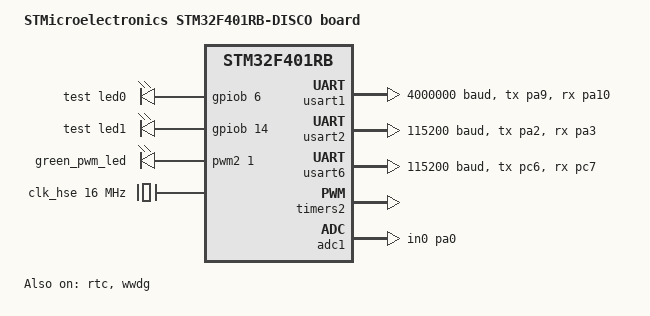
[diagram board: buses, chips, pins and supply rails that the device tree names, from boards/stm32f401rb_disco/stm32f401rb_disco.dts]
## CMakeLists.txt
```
# SPDX-License-Identifier: Apache-2.0

cmake_minimum_required(VERSION 3.20.0)
find_package(Zephyr REQUIRED HINTS $ENV{ZEPHYR_BASE})
project(cerebrum)

target_sources(app PRIVATE src/main.c)
```

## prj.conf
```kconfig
CONFIG_GPIO=y
CONFIG_SERIAL=y
CONFIG_UART_ASYNC_API=y
```

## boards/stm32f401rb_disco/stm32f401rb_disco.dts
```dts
/*
 * Copyright (c) 2017 Linaro Limited
 * Copyright (c) 2019 Centaur Analytics, Inc
 *
 * SPDX-License-Identifier: Apache-2.0
 */

/dts-v1/;
#include <st/f4/stm32f401Xb.dtsi>
#include <st/f4/stm32f401r(b-c)tx-pinctrl.dtsi>

/ {
	model = "STMicroelectronics STM32F401RB-DISCO board";
	compatible = "st,stm32f401rb-disco";

	chosen {
		zephyr,console = &usart2;
		zephyr,shell-uart = &usart2;
		zephyr,sram = &sram0;
		zephyr,flash = &flash0;
		zephyr,code-partition = &slot0_partition;
		/* other chosen settings  for your hardware */
	};

	/*
    * Your board-specific hardware: buttons, LEDs, sensors, etc.
    */

	leds {
		compatible = "gpio-leds";
		led0: led_0 {
			gpios = <&gpiob 6 GPIO_ACTIVE_HIGH>;
			label = "test led0";
		};
		led1: led_1 {
			gpios = <&gpiob 14 GPIO_ACTIVE_HIGH>;
			label = "test led1";
		};
	};

	pwmleds {
		compatible = "pwm-leds";
		green_pwm_led: green_pwm_led {
			pwms = <&pwm2 1 0 PWM_POLARITY_NORMAL>;
		};
	};

	gpio_keys {
		compatible = "gpio-keys";
	};

	/* These aliases are provided for compatibility with samples */
	aliases {
		led0 = &led0;
		led1 = &led1;
		pwm-led0 = &green_pwm_led;
	};
};

/* Clock Setup (cross-ref with stm32cubemx) */

&clk_hse {
	//hse-bypass;
	clock-frequency = <DT_FREQ_M(16)>; /* STLink 8MHz clock */
	status = "okay";
};

&pll {
	div-m = <8>;
	mul-n = <84>;
	div-p = <2>;
	div-q = <4>;
	clocks = <&clk_hse>;
	status = "okay";
};

&rcc {
	clocks = <&pll>;
	clock-frequency = <DT_FREQ_M(84)>;
	ahb-prescaler = <1>;
	apb1-prescaler = <2>;
	apb2-prescaler = <1>;
};

/* EEPROM flash setup */

&flash0 {

	partitions {
		compatible = "fixed-partitions";
		#address-cells = <1>;
		#size-cells = <1>;

		boot_partition: partition@0 {
			label = "mcuboot";
			reg = <0x00000000 0x00010000>;
			read-only;
		};

		/*
		 * The flash starting at offset 0x10000 and ending at
		 * offset 0x1ffff is reserved for use by the application.
		 */
		slot0_partition: partition@20000 {
			label = "image-0";
			reg = <0x00020000 0x00020000>;
		};
		slot1_partition: partition@40000 {
			label = "image-1";
			reg = <0x00040000 0x00020000>;
		};
		scratch_partition: partition@60000 {
			label = "image-scratch";
			reg = <0x00060000 0x00020000>;
		};
	};
};

/* Peripherals you want to enable like a GPIO or SPI controller */

/* UART Backplane */
&usart1 {
	pinctrl-0 = <&usart1_tx_pa9 &usart1_rx_pa10>;
	current-speed = <4000000>;
	status = "okay";
};

/* UART Ext 1 */
&usart2 {
	pinctrl-0 = <&usart2_tx_pa2 &usart2_rx_pa3>;
	current-speed = <115200>;
	dmas = <&dma1 5 1 0x30040 0x3>,
			<&dma1 6 1 0x30080 0x3>;
	dma-names = "tx", "rx";
	status = "okay";
};

/* UART Ext 2 */
&usart6 {
	pinctrl-0 = <&usart6_tx_pc6 &usart6_rx_pc7>;
	current-speed = <115200>;
	dmas = <&dma2 1 1 0x30040 0x3>,
			<&dma2 6 1 0x30080 0x3>;
	dma-names = "tx", "rx";
	status = "okay";
};

&timers2 {
	status = "okay";

	pwm2: pwm {
		status = "okay";
		pinctrl-0 = <&tim2_ch1_pa5>;
	};
};

&rtc {
	status = "okay";
};

&adc1 {
	pinctrl-0 = <&adc1_in0_pa0>;
	status = "okay";
};

&wwdg {
	status = "okay";
};

&dma1 {
	status = "okay";
};

&dma2 {
	status = "okay";
};
```

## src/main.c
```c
// Cerebrum Serial Extension, Helvar ltd (c)
// Main- blink led every 1000ms

#include "inc/main.h"

/* Define thread priority management */
K_FIFO_DEFINE(printk_fifo);

// UART Flags
K_SEM_DEFINE(tx_done, 0, 1);
K_SEM_DEFINE(tx_aborted, 0, 1);
K_SEM_DEFINE(rx_rdy, 0, 1);
K_SEM_DEFINE(rx_buf_released, 0, 1);
K_SEM_DEFINE(rx_disabled, 0, 1);

//Uart buffers
uint8_t rx_buf[1] = {0};
uint8_t tx_buf[1] = {1};
int redLed = 0;

// Tick LEDs
void blink(const struct led *led, uint32_t sleep_ms)
{
	const struct gpio_dt_spec *spec = &led->spec;
	int cnt = 0;
	int ret;

	if (!device_is_ready(spec->port)) {
		printk("Error: %s device is not ready\n", spec->port->name);
		return;
	}

	ret = gpio_pin_configure_dt(spec, GPIO_OUTPUT);
	if (ret != 0) {
		printk("Error %d: failed to configure pin %d (LED '%s')\n",
			ret, spec->pin, led->gpio_pin_name);
		return;
	}

	while (1) {
		gpio_pin_set(spec->port, spec->pin, cnt % 2);
		k_msleep(sleep_ms);
		cnt++;
	}
}

//Thread functions
void blink0(void)
{
	blink(&led0, 100);
}

void blink1(void)
{
	const struct led *led = &led1;
	const struct gpio_dt_spec *spec = &led->spec;
	int ret;

	ret = gpio_pin_configure_dt(spec, GPIO_OUTPUT);
	if (ret != 0) {
		printk("Error %d: failed to configure pin %d (LED '%s')\n",
			ret, spec->pin, led->gpio_pin_name);
		return;
	}
	gpio_pin_set(spec->port, spec->pin, redLed % 2);
	redLed++;
}

void transmit_receive(void){
	// UART DEV|BUFFER|BUFFER SIZE|TIMEOUT
	uart_rx_enable(uart2, rx_buf, sizeof(rx_buf), SYS_FOREVER_MS); //SYS_FOREVER_MS disables timeout for RX_RDY
	k_sem_take(&rx_rdy, K_MSEC(100));
	uart_tx(uart2, tx_buf, sizeof(tx_buf), SYS_FOREVER_MS);
	k_sem_take(&tx_done, K_MSEC(100));
}

//UART Priph, event, data
void uartInterrupt(const struct device *uart, struct uart_event *evt, void *user_data){
	//Handle IRQ Flags
	switch (evt->type) {
		case UART_TX_DONE:
			//Completed transfers
			k_sem_give(&tx_done);
			break;
		case UART_TX_ABORTED:
			k_sem_give(&tx_aborted);
			break;
		case UART_RX_RDY:
			// Received data so resend to test again
			k_sem_give(&rx_rdy);
			blink1();
			transmit_receive();
			break;
		case UART_RX_BUF_RELEASED:
			k_sem_give(&rx_buf_released);
			break;
		case UART_RX_DISABLED:
			k_sem_give(&rx_disabled);
			break;
		case UART_RX_BUF_REQUEST:
			k_sem_give(&rx_disabled);
			break;
		default:
			break;
		}
}

void uartTx(){
	// Define UART Devices and access to interrupt flags
	uart2 = device_get_binding(UART2);
	k_thread_access_grant(k_current_get(), &tx_done, &tx_aborted,
			      &rx_rdy, &rx_buf_released, &rx_disabled,
			      uart2);
	// Set callbacks on completion
	uart_callback_set(uart2, uartInterrupt, NULL);
	transmit_receive();
}

// Define threads to launch on runtime
K_THREAD_DEFINE(blink0_id, STACKSIZE, blink0, NULL, NULL, NULL, PRIORITY, 0, 0);
//K_THREAD_DEFINE(blink1_id, STACKSIZE, blink1, NULL, NULL, NULL, PRIORITY, 0, 0);
K_THREAD_DEFINE(uartTx_id, STACKSIZE, uartTx, NULL, NULL, NULL, PRIORITY, 0, 0);
```
